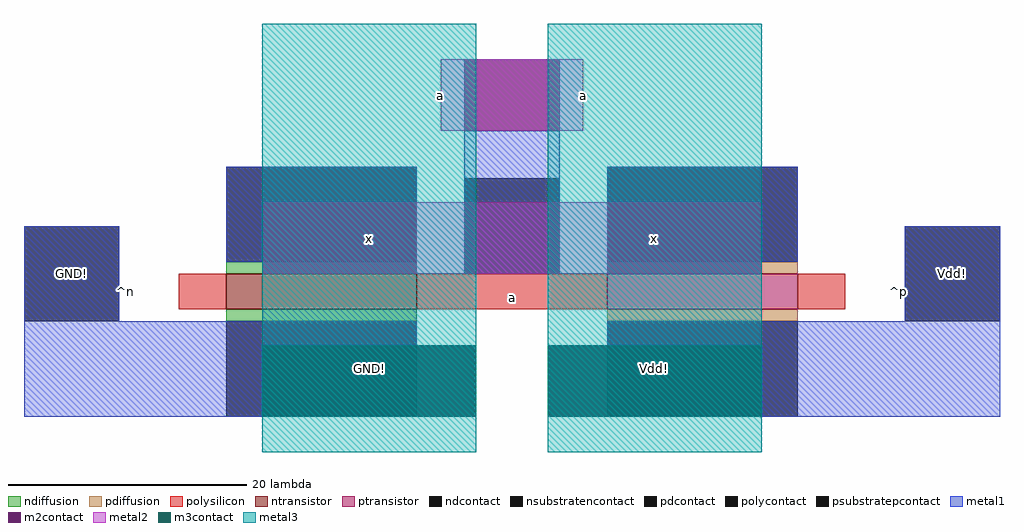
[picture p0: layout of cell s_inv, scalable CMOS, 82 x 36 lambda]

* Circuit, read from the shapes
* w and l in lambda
.subckt s_inv GND! Vdd! a x
M1 x a GND! GND! nfet w=16 l=3
M2 x a Vdd! Vdd! pfet w=16 l=3
.ends

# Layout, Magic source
magic
tech scmos
<< ndiffusion >>
rect -24 438 -8 439
rect -24 434 -8 435
<< pdiffusion >>
rect 8 438 24 439
rect 8 434 24 435
<< ntransistor >>
rect -24 435 -8 438
<< ptransistor >>
rect 8 435 24 438
<< polysilicon >>
rect -28 435 -24 438
rect -8 435 8 438
rect 24 435 28 438
<< ndcontact >>
rect -24 439 -8 447
rect -24 426 -8 434
<< pdcontact >>
rect 8 439 24 447
rect 8 426 24 434
<< psubstratepcontact >>
rect -41 434 -33 442
<< nsubstratencontact >>
rect 33 434 41 442
<< polycontact >>
rect -4 438 4 446
<< metal1 >>
rect -24 444 -8 447
rect -41 434 -33 442
rect -24 439 -21 444
rect -4 438 4 450
rect 8 444 24 447
rect 21 439 24 444
rect 33 434 41 442
rect -41 432 -8 434
rect 8 432 41 434
rect -41 426 -21 432
rect 21 426 41 432
<< m2contact >>
rect -4 450 4 456
rect -21 438 -8 444
rect 8 438 21 444
rect -21 426 -3 432
rect 3 426 21 432
<< metal2 >>
rect -6 450 6 456
rect -21 438 21 444
<< m3contact >>
rect -21 426 -3 432
rect 3 426 21 432
<< metal3 >>
rect -21 423 -3 459
rect 3 423 21 459
<< labels >>
rlabel metal2 6 450 6 456 7 a
rlabel metal2 -6 450 -6 456 3 a
rlabel polysilicon 0 436 0 436 1 a
rlabel pdcontact 12 430 12 430 8 Vdd!
rlabel ndcontact -12 430 -12 430 2 GND!
rlabel metal2 12 441 12 441 1 x
rlabel metal2 -12 441 -12 441 1 x
rlabel metal1 37 438 37 438 7 Vdd!
rlabel space 23 425 42 448 3 ^p
rlabel metal1 -37 438 -37 438 3 GND!
rlabel space -42 425 -23 448 7 ^n
<< end >>
